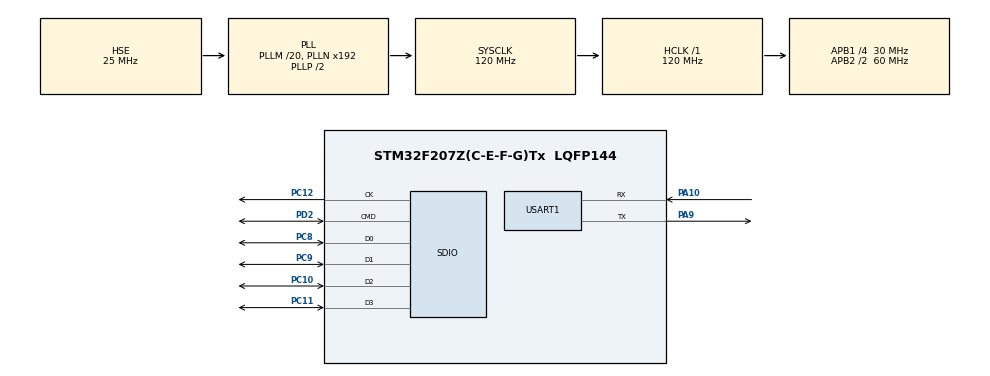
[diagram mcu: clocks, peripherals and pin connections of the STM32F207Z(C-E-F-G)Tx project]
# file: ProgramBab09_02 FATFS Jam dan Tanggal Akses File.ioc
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FATFS._USE_LFN=1
Mcu.Family=STM32F2
Mcu.Name=STM32F207Z(C-E-F-G)Tx
Mcu.Package=LQFP144
NVIC.PriorityGroup=NVIC_PRIORITYGROUP_4
PA10.Mode=Asynchronous
PA10.Signal=USART1_RX
PA9.Mode=Asynchronous
PA9.Signal=USART1_TX
PC10.Mode=SD_4_bits_Wide_bus
PC10.Signal=SDIO_D2
PC11.Mode=SD_4_bits_Wide_bus
PC11.Signal=SDIO_D3
PC12.Mode=SD_4_bits_Wide_bus
PC12.Signal=SDIO_CK
PC14-OSC32_IN.Mode=LSE-External-Oscillator
PC14-OSC32_IN.Signal=RCC_OSC32_IN
PC15-OSC32_OUT.Mode=LSE-External-Oscillator
PC15-OSC32_OUT.Signal=RCC_OSC32_OUT
PC8.Mode=SD_4_bits_Wide_bus
PC8.Signal=SDIO_D0
PC9.Mode=SD_4_bits_Wide_bus
PC9.Signal=SDIO_D1
PD2.Mode=SD_4_bits_Wide_bus
PD2.Signal=SDIO_CMD
PH0-OSC_IN.Mode=HSE-External-Oscillator
PH0-OSC_IN.Signal=RCC_OSC_IN
PH1-OSC_OUT.Mode=HSE-External-Oscillator
PH1-OSC_OUT.Signal=RCC_OSC_OUT
ProjectManager.HeapSize=0x200
ProjectManager.StackSize=0x400
ProjectManager.TargetToolchain=STM32CubeIDE
RCC.48MHZClocksFreq_Value=48000000
RCC.AHBFreq_Value=120000000
RCC.APB1CLKDivider=RCC_HCLK_DIV4
RCC.APB1Freq_Value=30000000
RCC.APB1TimFreq_Value=60000000
RCC.APB2CLKDivider=RCC_HCLK_DIV2
RCC.APB2Freq_Value=60000000
RCC.APB2TimFreq_Value=120000000
RCC.CortexFreq_Value=120000000
RCC.HCLKFreq_Value=120000000
RCC.HSE_VALUE=25000000
RCC.HSI_VALUE=16000000
RCC.PLLM=20
RCC.PLLQ=5
RCC.PLLSourceVirtual=RCC_PLLSOURCE_HSE
RCC.RCC_RTC_Clock_SourceVirtual=RCC_RTCCLKSOURCE_LSE
RCC.RCC_RTC_Clock_Source_FROM_HSE=RCC_RTCCLKSOURCE_HSE_DIV31
RCC.SYSCLKFreq_VALUE=120000000
RCC.SYSCLKSource=RCC_SYSCLKSOURCE_PLLCLK
RCC.VCOOutputFreq_Value=240000000
RTC.Date=12
RTC.Format=RTC_FORMAT_BIN
RTC.Hours=7
RTC.Minutes=45
RTC.Month=RTC_MONTH_OCTOBER
RTC.Seconds=12
RTC.WeekDay=RTC_WEEKDAY_SATURDAY
RTC.Year=19
SDIO.HardwareFlowControl=SDIO_HARDWARE_FLOW_CONTROL_ENABLE
USART1.VirtualMode=VM_ASYNC
VP_FATFS_VS_SDIO.Mode=SDIO
VP_RTC_VS_RTC_Activate.Mode=RTC_Enabled
VP_RTC_VS_RTC_Calendar.Mode=RTC_Calendar
board=custom

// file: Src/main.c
/* USER CODE BEGIN Header */
/**
  ******************************************************************************
  * @file           : main.c
  * @brief          : Main program body
  ******************************************************************************
  * @attention
  *
  * <h2><center>&copy; Copyright (c) 2019 STMicroelectronics.
  * All rights reserved.</center></h2>
  *
  * This software component is licensed by ST under BSD 3-Clause license,
  * the "License"; You may not use this file except in compliance with the
  * License. You may obtain a copy of the License at:
  *                        opensource.org/licenses/BSD-3-Clause
  *
  ******************************************************************************
  */
/* USER CODE END Header */
#include "main.h"
#include "fatfs.h"
#include "rtc.h"
#include "sdio.h"
#include "usart.h"
#include "gpio.h"

/* USER CODE BEGIN Includes */
#include <stdio.h>
#include <string.h>
/* USER CODE END Includes */

/* USER CODE BEGIN PV */
FATFS fs;
FRESULT res;
FIL TheFile;
uint8_t FileBuffer[512];
uint32_t OperationCode;

RTC_TimeTypeDef RTCTime;
RTC_DateTypeDef RTCDate;
/* USER CODE END PV */

void SystemClock_Config(void);

int main(void)
{
  /* USER CODE BEGIN 1 */
  uint16_t i;
  uint8_t flag;
  /* USER CODE END 1 */

  /* MCU Configuration--------------------------------------------------------*/

  /* Reset of all peripherals, Initializes the Flash interface and the Systick. */
  HAL_Init();

  /* Configure the system clock */
  SystemClock_Config();

  /* Initialize all configured peripherals */
  MX_GPIO_Init();
  MX_RTC_Init();
  MX_SDIO_SD_Init();
  MX_USART1_UART_Init();
  MX_FATFS_Init();
  /* USER CODE BEGIN 2 */
  printf("FatFS Jam dan Tanggal Akses File\r\n");
  if(f_mount(&fs, (TCHAR const*)"",1) != FR_OK){
	  printf("Mikro SD tidak terbaca\r\n");
	  for(;;);
  }
  printf("Membuat File FileTest1.txt\r\n");
  res = f_open(&TheFile, "FileTest134.txt", FA_CREATE_ALWAYS|FA_WRITE);
  if(res!=FR_OK){
	  printf("Open file gagal\r\n");
  }
  flag=1;
  for(i=0;i<10;i++){
    HAL_RTC_GetTime(&hrtc, &RTCTime, RTC_FORMAT_BIN);
	HAL_RTC_GetDate(&hrtc, &RTCDate, RTC_FORMAT_BIN);
	//res=f_printf(&TheFile,"Log %d: Jam  %02d:%02d:%02d Tanggal:  %02d:%02d:%02d\r\n",i+1,RTCTime.Hours, RTCTime.Minutes, RTCTime.Seconds,
			// RTCDate.Date, RTCDate.Month, 2000 + RTCDate.Year);
	sprintf((char*)FileBuffer,"Log %d: Jam  %02d:%02d:%02d Tanggal:  %02d:%02d:%02d\r\n",i+1,RTCTime.Hours, RTCTime.Minutes, RTCTime.Seconds,
			 RTCDate.Date, RTCDate.Month, 2000 + RTCDate.Year);
	res=f_write(&TheFile,FileBuffer,strlen((char*)FileBuffer),(void*)&OperationCode);
	if(res==0){
		printf("Penulisan file gagal atau mikro SD penuh\r\n");
		flag=0;
		break;
	}
	HAL_Delay(1000);
  }

  f_close(&TheFile);

  if(flag){
	  printf("Membaca Isi File FileTest1.txt\r\n");
	  res = f_open(&TheFile, "FileTest1.txt", FA_READ);
	  if(res==FR_OK){
		  while(!f_eof(&TheFile)){
			  if(f_gets((char*)FileBuffer,512,&TheFile)>0){
				  printf("%s\r\n",FileBuffer);
			  }
		  }
	  }
	  else{
		  printf("membqcq file gqgql\r\n");
	  }
  }
  f_close(&TheFile);

  /* USER CODE END 2 */

  /* Infinite loop */
  while (1)
  {

  }
}

void SystemClock_Config(void)
{
  RCC_OscInitTypeDef RCC_OscInitStruct = {0};
  RCC_ClkInitTypeDef RCC_ClkInitStruct = {0};
  RCC_PeriphCLKInitTypeDef PeriphClkInitStruct = {0};

  /** Initializes the RCC Oscillators according to the specified parameters
  * in the RCC_OscInitTypeDef structure.
  */
  RCC_OscInitStruct.OscillatorType = RCC_OSCILLATORTYPE_HSE|RCC_OSCILLATORTYPE_LSE;
  RCC_OscInitStruct.HSEState = RCC_HSE_ON;
  RCC_OscInitStruct.LSEState = RCC_LSE_ON;
  RCC_OscInitStruct.PLL.PLLState = RCC_PLL_ON;
  RCC_OscInitStruct.PLL.PLLSource = RCC_PLLSOURCE_HSE;
  RCC_OscInitStruct.PLL.PLLM = 20;
  RCC_OscInitStruct.PLL.PLLN = 192;
  RCC_OscInitStruct.PLL.PLLP = RCC_PLLP_DIV2;
  RCC_OscInitStruct.PLL.PLLQ = 5;
  if (HAL_RCC_OscConfig(&RCC_OscInitStruct) != HAL_OK)
  {
    Error_Handler();
  }
  /** Initializes the CPU, AHB and APB buses clocks
  */
  RCC_ClkInitStruct.ClockType = RCC_CLOCKTYPE_HCLK|RCC_CLOCKTYPE_SYSCLK
                              |RCC_CLOCKTYPE_PCLK1|RCC_CLOCKTYPE_PCLK2;
  RCC_ClkInitStruct.SYSCLKSource = RCC_SYSCLKSOURCE_PLLCLK;
  RCC_ClkInitStruct.AHBCLKDivider = RCC_SYSCLK_DIV1;
  RCC_ClkInitStruct.APB1CLKDivider = RCC_HCLK_DIV4;
  RCC_ClkInitStruct.APB2CLKDivider = RCC_HCLK_DIV2;

  if (HAL_RCC_ClockConfig(&RCC_ClkInitStruct, FLASH_LATENCY_3) != HAL_OK)
  {
    Error_Handler();
  }
  PeriphClkInitStruct.PeriphClockSelection = RCC_PERIPHCLK_RTC;
  PeriphClkInitStruct.RTCClockSelection = RCC_RTCCLKSOURCE_LSE;
  if (HAL_RCCEx_PeriphCLKConfig(&PeriphClkInitStruct) != HAL_OK)
  {
    Error_Handler();
  }
}

void Error_Handler(void)
{
}

/************************ (C) COPYRIGHT STMicroelectronics *****END OF FILE****/
